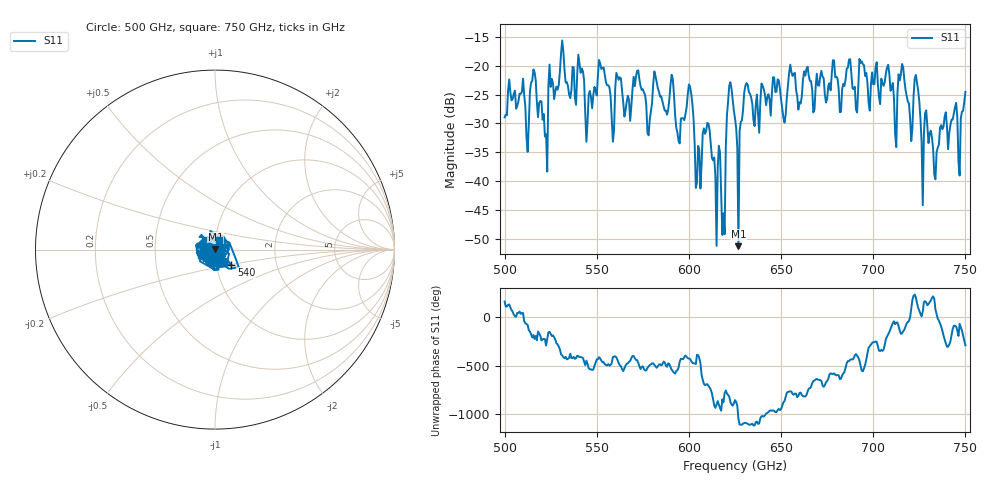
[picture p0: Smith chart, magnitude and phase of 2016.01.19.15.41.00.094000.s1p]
!Created with skrf (http://scikit-rf.org).
# GHz S RI R 50.0
!freq ReS11 ImS11
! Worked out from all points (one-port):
!   401 points, 500 GHz to 750 GHz, reference 50 ohm
!   lowest |S11| = -51.2 dB at 626.9 GHz (marker M1), VSWR 1.01, Z = 50.2 + j0.147 ohm
!   |S11| at or under -10 dB: start of sweep to end of sweep
!   S11 on the Smith chart (normalised r, x): 500 GHz: 0.94, +0.03; 540 GHz: 1.18, -0.20; 750 GHz: 1.04, +0.11
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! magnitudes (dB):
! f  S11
! 500 GHz  -29.0
! 512.5 GHz  -34.9
! 515.6 GHz  -20.7
! 521.9 GHz  -32.3
! 531.2 GHz  -15.6
! 540 GHz  -18.1
! 545 GHz  -29.7
! 552.5 GHz  -20.6
! 562.5 GHz  -22.0
! 578.1 GHz  -32.1
! 590.6 GHz  -21.6
! 593.8 GHz  -31.6
! 600.6 GHz  -23.7
! 605 GHz  -33.9
! 610 GHz  -29.9
! 618.1 GHz  -49.3
! 621.9 GHz  -23.5
! 625 GHz  -29.1
! 626.9 GHz  -51.2
! 631.2 GHz  -23.0
! 651.9 GHz  -29.9
! 656.2 GHz  -21.8
! 687.5 GHz  -18.9
! 718.8 GHz  -26.2
! 723.8 GHz  -22.9
! 726.2 GHz  -33.3
! 733.8 GHz  -39.7
! 750 GHz  -24.5
